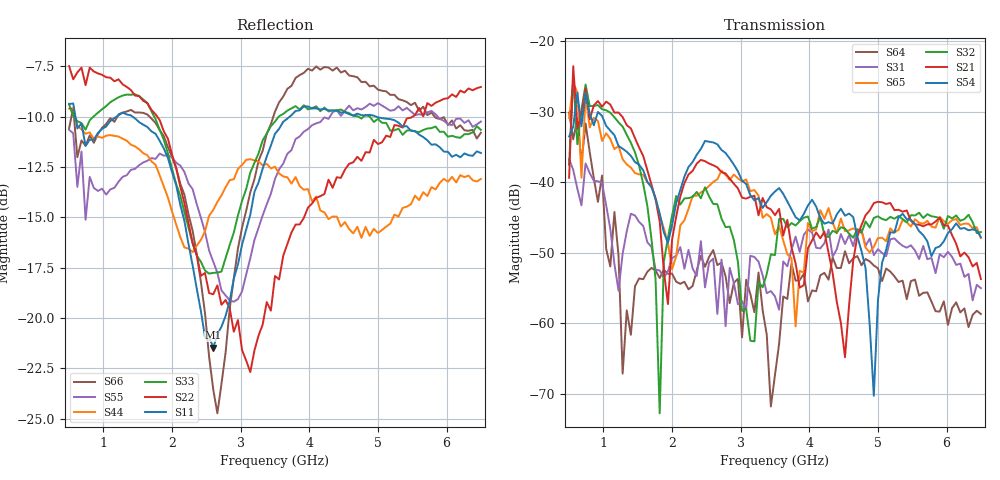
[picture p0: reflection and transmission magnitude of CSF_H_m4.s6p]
!Keysight Technologies,M9804A,MY58100912,A.14.10.03
!Date: Thursday, April 27, 2023 10:28:33
!Correction: S11(C  6-Port  )
!S12(C  6-Port  )
!S13(C  6-Port  )
!S14(C  6-Port  )
!S15(C  6-Port  )
!S16(C  6-Port  )
!S21(C  6-Port  )
!S22(C  6-Port  )
!S23(C  6-Port  )
!S24(C  6-Port  )
!S25(C  6-Port  )
!S26(C  6-Port  )
!S31(C  6-Port  )
!S32(C  6-Port  )
!S33(C  6-Port  )
!S34(C  6-Port  )
!S35(C  6-Port  )
!S36(C  6-Port  )
!S41(C  6-Port  )
!S42(C  6-Port  )
!S43(C  6-Port  )
!S44(C  6-Port  )
!S45(C  6-Port  )
!S46(C  6-Port  )
!S51(C  6-Port  )
!S52(C  6-Port  )
!S53(C  6-Port  )
!S54(C  6-Port  )
!S55(C  6-Port  )
!S56(C  6-Port  )
!S61(C  6-Port  )
!S62(C  6-Port  )
!S63(C  6-Port  )
!S64(C  6-Port  )
!S65(C  6-Port  )
!S66(C  6-Port  )
!S6P File: Measurement: :
# Hz S  RI  R 50
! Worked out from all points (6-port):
!   101 points, 500 MHz to 6.5 GHz, reference 50 ohm
!   strongest paths, dB at 500 MHz, 2 GHz, 3.5 GHz, 5 GHz, 6.5 GHz:
!     S54: -33.5, -46.1, -41.3, -56.8, -47.8
!     S21: -39.4, -48.2, -44.7, -42.8, -53.7
!     S32: -37.5, -44.7, -50.3, -44.8, -47.1
!     S65: -30.9, -52.4, -47.4, -47.9, -47.9
!     S31: -36.7, -50.8, -56.2, -49.5, -55.0
!     S64: -30.1, -53.0, -67.3, -52.2, -58.7
!   lowest |S11| = -21.5 dB at 2.6 GHz (marker M1), VSWR 1.18, Z = 42.5 + j2.2 ohm
!   |S11| at or under -10 dB: 591.8 MHz to 1.187 GHz (595.3 MHz wide, 66.9 % of centre); 1.428 GHz to 3.712 GHz (2.284 GHz wide, 88.9 % of centre); 4.978 GHz to end of sweep
